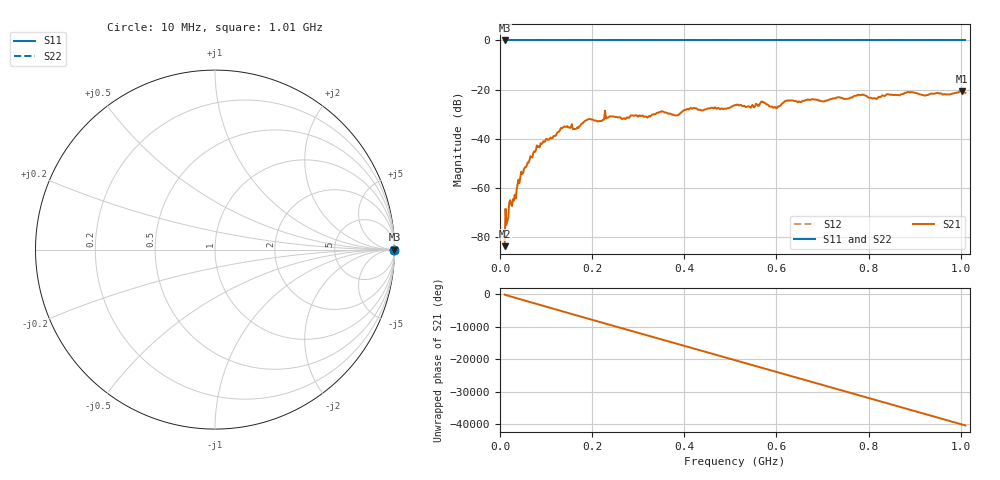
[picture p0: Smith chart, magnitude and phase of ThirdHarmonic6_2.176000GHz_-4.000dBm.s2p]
! 8/17/2025 1:57:21 AM
! C:\ANRITSUVNA\TEMP\TEMP.S2P
! CHANNEL.1
! TR.MEASUREMENT
! RAW.DATA
! RF.CORRECTION.OFF
! AVERAGING.OFF
! IF.BANDWIDTH: 5KHZ
! SWEEPTYPE:  FREQ.SWEEP(Linear)
! Reference Plane Port Info
! PORT:  PORT1  PORT2
! DISTANCE:  0  m  0  m
! TIME:  0  s  0  s
! PHASE.OFFSET:  0  deg.  0  deg.
! LOSS:  0  dB  0  dB
! REF.LOSS:  0  dB  0  dB
! REF.FREQ:  0  Hz  0  Hz
! Power Info
! POWER:  -20  dBm  -20  dBm
! EFF.POWER:  -20  dBm  -20  dBm
! SOURCE.ATTEN:  0  dB  0  dB
! TEST.ATTEN:  0  dB  0  dB
# GHZ S RI R 50.0
! FREQ.GHZ  S11RE  S11IM  S21RE  S21IM  S12RE  S12IM  S22RE  S22IM
!; PortSelection: Port_12
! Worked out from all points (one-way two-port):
!   501 points, 10 MHz to 1.01 GHz, reference 50 ohm
!   highest |S21| = -20.76 dB at 1.002 GHz (marker M1); lowest = -83.9 dB at 10 MHz (marker M2)
!   lowest |S11| = 0.0 dB at 10 MHz (marker M3)
!   |S11| at or under -10 dB: nowhere
!   |S22| runs from 0.0 to 0.0 dB; largest |S21 - S12| = 1.1
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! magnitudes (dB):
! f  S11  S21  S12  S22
! 10 MHz  0.0  -83.9  0.0  0.0
! 24 MHz  0.0  -66.7  0.0  0.0
! 30 MHz  0.0  -65.3  0.0  0.0
! 42 MHz  0.0  -58.2  0.0  0.0
! 78 MHz  0.0  -44.7  0.0  0.0
! 136 MHz  0.0  -35.6  0.0  0.0
! 162 MHz  0.0  -36.2  0.0  0.0
! 178 MHz  0.0  -33.8  0.0  0.0
! 232 MHz  0.0  -31.5  0.0  0.0
! 268 MHz  0.0  -31.7  0.0  0.0
! 344 MHz  0.0  -29.5  0.0  0.0
! 382 MHz  0.0  -30.6  0.0  0.0
! 410 MHz  0.0  -28.2  0.0  0.0
! 510 MHz  0.0  -26.4  0.0  0.0
! 548 MHz  0.0  -26.3  0.0  0.0
! 570 MHz  0.0  -25.1  0.0  0.0
! 598 MHz  0.0  -27.3  0.0  0.0
! 622 MHz  0.0  -24.5  0.0  0.0
! 678 MHz  0.0  -24.0  0.0  0.0
! 844 MHz  0.0  -22.0  0.0  0.0
! 1.002 GHz  0.0  -20.8  0.0  0.0
! 1.01 GHz  0.0  -21.4  0.0  0.0
